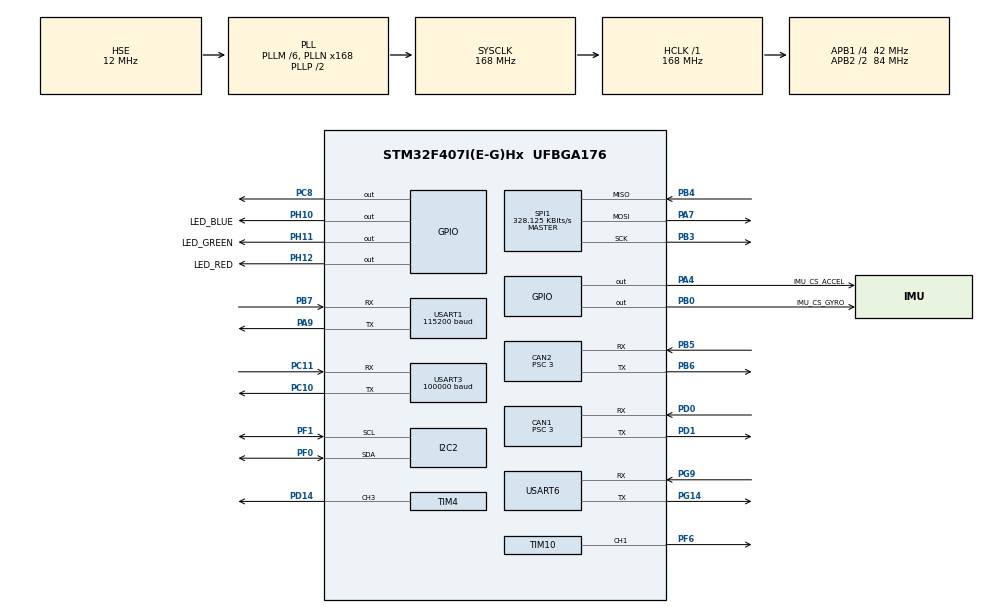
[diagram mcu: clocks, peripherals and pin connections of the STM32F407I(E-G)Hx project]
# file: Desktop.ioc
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CAN1.ABOM=ENABLE
CAN1.BS1=CAN_BS1_10TQ
CAN1.BS2=CAN_BS2_3TQ
CAN1.CalculateBaudRate=1000000
CAN1.CalculateTimeBit=1000
CAN1.CalculateTimeQuantum=71.42857142857143
CAN1.Prescaler=3
CAN2.ABOM=ENABLE
CAN2.BS1=CAN_BS1_10TQ
CAN2.BS2=CAN_BS2_3TQ
CAN2.CalculateBaudRate=1000000
CAN2.CalculateTimeBit=1000
CAN2.CalculateTimeQuantum=71.42857142857143
CAN2.Prescaler=3
Dma.Request0=USART1_RX
Dma.Request1=USART1_TX
Dma.Request2=USART3_RX
Dma.Request3=USART6_RX
Dma.Request4=USART6_TX
Dma.USART1_RX.0.Direction=DMA_PERIPH_TO_MEMORY
Dma.USART1_RX.0.FIFOMode=DMA_FIFOMODE_DISABLE
Dma.USART1_RX.0.Instance=DMA2_Stream2
Dma.USART1_RX.0.MemDataAlignment=DMA_MDATAALIGN_BYTE
Dma.USART1_RX.0.MemInc=DMA_MINC_ENABLE
Dma.USART1_RX.0.Mode=DMA_NORMAL
Dma.USART1_RX.0.PeriphDataAlignment=DMA_PDATAALIGN_BYTE
Dma.USART1_RX.0.PeriphInc=DMA_PINC_DISABLE
Dma.USART1_RX.0.Priority=DMA_PRIORITY_LOW
Dma.USART1_TX.1.Direction=DMA_MEMORY_TO_PERIPH
Dma.USART1_TX.1.FIFOMode=DMA_FIFOMODE_DISABLE
Dma.USART1_TX.1.Instance=DMA2_Stream7
Dma.USART1_TX.1.MemDataAlignment=DMA_MDATAALIGN_BYTE
Dma.USART1_TX.1.MemInc=DMA_MINC_ENABLE
Dma.USART1_TX.1.Mode=DMA_NORMAL
Dma.USART1_TX.1.PeriphDataAlignment=DMA_PDATAALIGN_BYTE
Dma.USART1_TX.1.PeriphInc=DMA_PINC_DISABLE
Dma.USART1_TX.1.Priority=DMA_PRIORITY_LOW
Dma.USART3_RX.2.Direction=DMA_PERIPH_TO_MEMORY
Dma.USART3_RX.2.FIFOMode=DMA_FIFOMODE_DISABLE
Dma.USART3_RX.2.Instance=DMA1_Stream1
Dma.USART3_RX.2.MemDataAlignment=DMA_MDATAALIGN_BYTE
Dma.USART3_RX.2.MemInc=DMA_MINC_ENABLE
Dma.USART3_RX.2.Mode=DMA_CIRCULAR
Dma.USART3_RX.2.PeriphDataAlignment=DMA_PDATAALIGN_BYTE
Dma.USART3_RX.2.PeriphInc=DMA_PINC_DISABLE
Dma.USART3_RX.2.Priority=DMA_PRIORITY_LOW
Dma.USART6_RX.3.Direction=DMA_PERIPH_TO_MEMORY
Dma.USART6_RX.3.FIFOMode=DMA_FIFOMODE_DISABLE
Dma.USART6_RX.3.Instance=DMA2_Stream1
Dma.USART6_RX.3.MemDataAlignment=DMA_MDATAALIGN_BYTE
Dma.USART6_RX.3.MemInc=DMA_MINC_ENABLE
Dma.USART6_RX.3.Mode=DMA_NORMAL
Dma.USART6_RX.3.PeriphDataAlignment=DMA_PDATAALIGN_BYTE
Dma.USART6_RX.3.PeriphInc=DMA_PINC_DISABLE
Dma.USART6_RX.3.Priority=DMA_PRIORITY_LOW
Dma.USART6_TX.4.Direction=DMA_MEMORY_TO_PERIPH
Dma.USART6_TX.4.FIFOMode=DMA_FIFOMODE_DISABLE
Dma.USART6_TX.4.Instance=DMA2_Stream6
Dma.USART6_TX.4.MemDataAlignment=DMA_MDATAALIGN_BYTE
Dma.USART6_TX.4.MemInc=DMA_MINC_ENABLE
Dma.USART6_TX.4.Mode=DMA_NORMAL
Dma.USART6_TX.4.PeriphDataAlignment=DMA_PDATAALIGN_BYTE
Dma.USART6_TX.4.PeriphInc=DMA_PINC_DISABLE
Dma.USART6_TX.4.Priority=DMA_PRIORITY_LOW
I2C2.I2C_Mode=I2C_Fast
Mcu.Family=STM32F4
Mcu.Name=STM32F407I(E-G)Hx
Mcu.Package=UFBGA176
NVIC.CAN1_RX0_IRQn=true\:0\:0\:false\:false\:true\:true\:true\:true
NVIC.CAN1_RX1_IRQn=true\:0\:0\:false\:false\:true\:true\:true\:true
NVIC.CAN2_RX0_IRQn=true\:0\:0\:false\:false\:true\:true\:true\:true
NVIC.CAN2_RX1_IRQn=true\:0\:0\:false\:false\:true\:true\:true\:true
NVIC.DMA1_Stream1_IRQn=true\:0\:0\:false\:false\:true\:false\:true\:true
NVIC.DMA2_Stream1_IRQn=true\:0\:0\:false\:false\:true\:false\:true\:true
NVIC.DMA2_Stream2_IRQn=true\:0\:0\:false\:false\:true\:false\:true\:true
NVIC.DMA2_Stream6_IRQn=true\:0\:0\:false\:false\:true\:false\:true\:true
NVIC.DMA2_Stream7_IRQn=true\:0\:0\:false\:false\:true\:false\:true\:true
NVIC.PriorityGroup=NVIC_PRIORITYGROUP_4
NVIC.TIM1_UP_TIM10_IRQn=true\:0\:0\:false\:false\:true\:true\:true\:true
NVIC.TIM4_IRQn=true\:2\:0\:true\:false\:true\:true\:true\:true
NVIC.USART1_IRQn=true\:0\:0\:false\:false\:true\:true\:true\:true
NVIC.USART3_IRQn=true\:0\:0\:false\:false\:true\:true\:true\:true
NVIC.USART6_IRQn=true\:0\:0\:false\:false\:true\:true\:true\:true
PA13.Mode=Serial_Wire
PA13.Signal=SYS_JTMS-SWDIO
PA14.Mode=Serial_Wire
PA14.Signal=SYS_JTCK-SWCLK
PA4.GPIO_Label=IMU_CS_ACCEL
PA4.GPIO_Speed=GPIO_SPEED_FREQ_VERY_HIGH
PA4.PinState=GPIO_PIN_SET
PA4.Signal=GPIO_Output
PA7.Mode=Full_Duplex_Master
PA7.Signal=SPI1_MOSI
PA9.Mode=Asynchronous
PA9.Signal=USART1_TX
PB0.GPIO_Label=IMU_CS_GYRO
PB0.GPIO_Speed=GPIO_SPEED_FREQ_VERY_HIGH
PB0.PinState=GPIO_PIN_SET
PB0.Signal=GPIO_Output
PB3.Mode=Full_Duplex_Master
PB3.Signal=SPI1_SCK
PB4.Mode=Full_Duplex_Master
PB4.Signal=SPI1_MISO
PB5.Mode=CAN_Activate
PB5.Signal=CAN2_RX
PB6.Mode=CAN_Activate
PB6.Signal=CAN2_TX
PB7.Mode=Asynchronous
PB7.Signal=USART1_RX
PC10.Mode=Asynchronous
PC10.Signal=USART3_TX
PC11.Mode=Asynchronous
PC11.Signal=USART3_RX
PC8.Signal=GPIO_Output
PD0.Mode=CAN_Activate
PD0.Signal=CAN1_RX
PD1.Mode=CAN_Activate
PD1.Signal=CAN1_TX
PD14.Signal=S_TIM4_CH3
PF0.Mode=I2C
PF0.Signal=I2C2_SDA
PF1.Mode=I2C
PF1.Signal=I2C2_SCL
PF6.Signal=S_TIM10_CH1
PG14.Mode=Asynchronous
PG14.Signal=USART6_TX
PG9.Mode=Asynchronous
PG9.Signal=USART6_RX
PH0-OSC_IN.Mode=HSE-External-Oscillator
PH0-OSC_IN.Signal=RCC_OSC_IN
PH1-OSC_OUT.Mode=HSE-External-Oscillator
PH1-OSC_OUT.Signal=RCC_OSC_OUT
PH10.GPIO_Label=LED_BLUE
PH10.GPIO_PuPd=GPIO_PULLUP
PH10.PinState=GPIO_PIN_SET
PH10.Signal=GPIO_Output
PH11.GPIO_Label=LED_GREEN
PH11.GPIO_PuPd=GPIO_PULLUP
PH11.PinState=GPIO_PIN_SET
PH11.Signal=GPIO_Output
PH12.GPIO_Label=LED_RED
PH12.GPIO_PuPd=GPIO_PULLUP
PH12.PinState=GPIO_PIN_SET
PH12.Signal=GPIO_Output
ProjectManager.HeapSize=0x200
ProjectManager.StackSize=0x400
ProjectManager.TargetToolchain=CMake
RCC.48MHZClocksFreq_Value=84000000
RCC.AHBFreq_Value=168000000
RCC.APB1CLKDivider=RCC_HCLK_DIV4
RCC.APB1Freq_Value=42000000
RCC.APB1TimFreq_Value=84000000
RCC.APB2CLKDivider=RCC_HCLK_DIV2
RCC.APB2Freq_Value=84000000
RCC.APB2TimFreq_Value=168000000
RCC.CortexFreq_Value=168000000
RCC.HCLKFreq_Value=168000000
RCC.HSE_VALUE=12000000
RCC.HSI_VALUE=16000000
RCC.LSE_VALUE=32768
RCC.PLLM=6
RCC.PLLN=168
RCC.PLLSourceVirtual=RCC_PLLSOURCE_HSE
RCC.SYSCLKFreq_VALUE=168000000
RCC.SYSCLKSource=RCC_SYSCLKSOURCE_PLLCLK
RCC.VCOOutputFreq_Value=336000000
SH.S_TIM10_CH1.0=TIM10_CH1,PWM Generation1 CH1
SH.S_TIM4_CH3.0=TIM4_CH3,PWM Generation3 CH3
SPI1.BaudRatePrescaler=SPI_BAUDRATEPRESCALER_256
SPI1.CLKPhase=SPI_PHASE_2EDGE
SPI1.CLKPolarity=SPI_POLARITY_HIGH
SPI1.CalculateBaudRate=328.125 KBits/s
SPI1.Direction=SPI_DIRECTION_2LINES
SPI1.Mode=SPI_MODE_MASTER
SPI1.VirtualType=VM_MASTER
STMicroelectronics.X-CUBE-ALGOBUILD.1.4.0.LibraryCcDSPOoLibraryJjDSPOoLibrary=true
TIM10.Channel=TIM_CHANNEL_1
TIM10.Period=16800-1
TIM10.Prescaler=0
TIM4.Channel-PWM\ Generation3\ CH3=TIM_CHANNEL_3
TIM4.Period=999
TIM4.Prescaler=83
USART1.BaudRate=115200
USART1.VirtualMode=VM_ASYNC
USART3.BaudRate=100000
USART3.Parity=PARITY_EVEN
USART3.VirtualMode=VM_ASYNC
USART3.WordLength=WORDLENGTH_9B
USART6.VirtualMode=VM_ASYNC
VP_STMicroelectronics.X-CUBE-ALGOBUILD_VS_DSPOoLibraryJjLibrary_1.4.0_1.4.0.Mode=DSPOoLibraryJjLibrary
VP_TIM10_VS_ClockSourceINT.Mode=Enable_Timer
VP_TIM4_VS_ClockSourceINT.Mode=Internal
board=custom

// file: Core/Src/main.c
/* USER CODE BEGIN Header */
/**
  ******************************************************************************
  * @file           : main.c
  * @brief          : Main program body
  ******************************************************************************
  * @attention
  *
  * Copyright (c) 2026 STMicroelectronics.
  * All rights reserved.
  *
  * This software is licensed under terms that can be found in the LICENSE file
  * in the root directory of this software component.
  * If no LICENSE file comes with this software, it is provided AS-IS.
  *
  ******************************************************************************
  */
/* USER CODE END Header */
#include "main.h"
#include "can.h"
#include "dma.h"
#include "i2c.h"
#include "spi.h"
#include "tim.h"
#include "usart.h"
#include "gpio.h"

/* USER CODE BEGIN Includes */
#include "bsp.h"
#include <stdio.h>
#include "../../User_Lib/user_music.h"

/* USER CODE END Includes */

void SystemClock_Config(void);

/* USER CODE BEGIN 0 */
static float Chassis_Heading_Get(void) {
    return Gimbal_Get_Yaw(&user_gimbal);
}

/* 航向源可信度：从没接过=可信（裸车调试，角度恒 0）；接过又掉线（角度冻结）或未对齐=不可信 */
static uint8_t Chassis_Source_Valid(void) {
    return Gimbal_Is_Reliable(&user_gimbal);
}
/* USER CODE END 0 */

/* ★★ 启动进度播报宏：用来定位"卡在哪一步"。
   每过一关就往【绘图口 USART6】和【视觉口 USART1】各发一行 ASCII。
   排查完可以整段删掉，不影响功能。 */
#define BOOT_TRACE(tag) do {                                        \
    static const char _bt[] = "\r\n[BOOT] " tag "\r\n";              \
    HAL_UART_Transmit(&huart6, (uint8_t*)_bt, sizeof(_bt) - 1, 200); \
    HAL_UART_Transmit(&huart1, (uint8_t*)_bt, sizeof(_bt) - 1, 200); \
} while (0)

int main(void)
{

  /* MCU Configuration--------------------------------------------------------*/

  /* Reset of all peripherals, Initializes the Flash interface and the Systick. */
    /* ★★ 硬件 FPU 必须在使用任何浮点指令之前打开，否则第一条 VFP 指令就是 NoCP 异常 -> 上电即跑飞。
       正常路径是 SystemInit() 里根据 __FPU_USED 自动开；这里再显式开一次做保险
       （与 CMakeLists 里的 -mfpu=fpv4-sp-d16 -mfloat-abi=hard 配套）。幂等，可重复执行。*/
#if (__FPU_PRESENT == 1U)
    SCB->CPACR |= ((3UL << (10U * 2U)) | (3UL << (11U * 2U)));
    __DSB();
    __ISB();
#endif
  HAL_Init();

  /* Configure the system clock */
  SystemClock_Config();

  /* Initialize all configured peripherals */
  MX_GPIO_Init();
  MX_DMA_Init();
  MX_CAN1_Init();
  MX_USART1_UART_Init();
  MX_USART3_UART_Init();
  MX_TIM4_Init();
  MX_I2C2_Init();
  MX_SPI1_Init();
    /* ★★ 性能关键：CubeMX 生成的 spi.c 里 BaudRatePrescaler = 256
       -> APB2 84MHz/256 = 328 kHz，读一次 IMU(19字节) 要 ≈463us，占满 1ms 预算的 46%！
       BMI088 的 SPI 支持到 10MHz，这里提到 84/16 = 5.25MHz -> 同一次读取降到 ≈29us。
       放在这里而不是改 spi.c，是为了不被下次 CubeMX 重新生成覆盖掉。
       （建议同时在 CubeMX 里把 SPI1 的 Prescaler 也改成 16，保持两边一致）*/
    hspi1.Init.BaudRatePrescaler = SPI_BAUDRATEPRESCALER_16;
    if (HAL_SPI_Init(&hspi1) != HAL_OK) {
        Error_Handler();
    }
  MX_CAN2_Init();
  MX_TIM10_Init();
  MX_USART6_UART_Init();
    BOOT_TRACE("M1 gpio/dma/uart inits OK");
  /* USER CODE BEGIN 2 */
  /* JScope 采样节拍：TIM10 跑 10kHz（C 板蜂鸣器占 TIM4_CH3，PWM_Set_Frequency 会改 TIM4 的 ARR，
     节拍不能挂 TIM4；PF6 加热通道由 Heater_Init 单独启动，TIM10 时基 + 加热 PWM 共存）*/
  JScope_Init(&htim10);
  TIMER_Init(&user_timer_10, &htim10, TIM10_CLK);
  TIMER_RegisterCallback(&user_timer_10, ChassisControl_JScopeCallback);

    /* ★★ HWT906（串口姿态传感器）本车【不使用】，已整段停用。
       原因一：没接、没用到。
       原因二（更关键）：它和【遥控接收机 DBUS】共用 USART3 ——
              两个驱动在同一 UART 上各自跑 DMA 收包会互相破坏，
               可能在中断里跑飞 -> 表现就是"所有串口都没有输出"。
       将来真要用 HWT906，必须给它单独分配一个空闲 UART，不能再与 DBUS 共用。
    // UART_Init(&user_imu_uart, &huart3);
  /* 状态灯：C 板是 RGB 三色灯，红 = PH12，绿 = PH11，低电平点亮 */
  LED_Init(&user_red_led, LED_RED_GPIO_Port, LED_RED_Pin, 1);
  LED_Init(&user_green_led, LED_GREEN_GPIO_Port, LED_GREEN_Pin, 1);
  LED_On(&user_green_led);

  Buzzer_Init(&user_buzzer_1, &htim4, TIM_CHANNEL_3, TIM4_CLK);
  StartupMusic_Init(&user_startup_music, &user_buzzer_1, &user_startup_music_task,
                    dji_starting_music, sizeof(dji_starting_music) / sizeof(dji_starting_music[0]));
  StartupMusic_Start(&user_startup_music);

  CAN_Init(&user_can_1, &hcan1);
  CAN_Init(&user_can_2, &hcan2);

  /* 底盘电机：4 个 M3508 共用 0x200 帧，ID 按实际接线：左前=2 右前=3 左后=1 右后=4 */
  PID_Init(&user_wheel_pid_fl, CHASSIS_SPEED_KP, CHASSIS_SPEED_KI, CHASSIS_SPEED_KD,
           CHASSIS_SPEED_MAX_OUT, CHASSIS_SPEED_MAX_IOUT);
  PID_Init(&user_wheel_pid_fr, CHASSIS_SPEED_KP, CHASSIS_SPEED_KI, CHASSIS_SPEED_KD,
           CHASSIS_SPEED_MAX_OUT, CHASSIS_SPEED_MAX_IOUT);
  PID_Init(&user_wheel_pid_rl, CHASSIS_SPEED_KP, CHASSIS_SPEED_KI, CHASSIS_SPEED_KD,
           CHASSIS_SPEED_MAX_OUT, CHASSIS_SPEED_MAX_IOUT);
  PID_Init(&user_wheel_pid_rr, CHASSIS_SPEED_KP, CHASSIS_SPEED_KI, CHASSIS_SPEED_KD,
           CHASSIS_SPEED_MAX_OUT, CHASSIS_SPEED_MAX_IOUT);

  DJI_Motor_Init(&user_wheel_fl, &user_can_1, 2, 0.0f, M3508_gear, Rotor_speed,
                 (CONTROLLER_INTERFACE*)&user_wheel_pid_fl);
  DJI_Motor_Init(&user_wheel_fr, &user_can_1, 3, 0.0f, M3508_gear, Rotor_speed,
                 (CONTROLLER_INTERFACE*)&user_wheel_pid_fr);
  DJI_Motor_Init(&user_wheel_rl, &user_can_1, 1, 0.0f, M3508_gear, Rotor_speed,
                 (CONTROLLER_INTERFACE*)&user_wheel_pid_rl);
  DJI_Motor_Init(&user_wheel_rr, &user_can_1, 4, 0.0f, M3508_gear, Rotor_speed,
                 (CONTROLLER_INTERFACE*)&user_wheel_pid_rr);

  Chassis_Init(&user_chassis,
               (MOTOR_INTERFACE*)&user_wheel_fl, (MOTOR_INTERFACE*)&user_wheel_fr,
               (MOTOR_INTERFACE*)&user_wheel_rl, (MOTOR_INTERFACE*)&user_wheel_rr);

  /* 遥控器（C 板 DBUS 走 USART3：PC10/PC11，100000 + 8E1）与姿态传感器 */
  DBUS_Init(&user_dbus, &huart3);
    // HWT906_Init(&user_imu, &user_imu_uart);   /* 同上：未使用，且会与 DBUS 抢 USART3 */
  /* 板载 IMU：SPI1 + 姿态解算（BMI088 双片选：加速度 PA4 / 陀螺 PB0） */
  SPI_Init(&user_spi_accel, &hspi1, IMU_CS_ACCEL_GPIO_Port, IMU_CS_ACCEL_Pin);
  SPI_Init(&user_spi_gyro, &hspi1, IMU_CS_GYRO_GPIO_Port, IMU_CS_GYRO_Pin);
  BMI088_Init(&user_bmi088, &user_spi_accel, &user_spi_gyro, 2);   /* ★ 2ms=500Hz：把 IMU读取+EKF 的中断负载减半，先把系统从"几秒后锁死"里救出来 */
  Attitude_Init(&user_attitude, &user_bmi088, 0.002f);              /* ★ 必须与上面的 2ms 一致，否则 EKF 的 dt 错 */
    BOOT_TRACE("M2 IMU + attitude OK");

  /* IMU 恒温加热：PF6 = TIM10_CH1（10kHz PWM），100ms 任务，温度用 BMI088 已读好的值。
     ★ 必须在 MX_TIM10_Init() 之后调用；上电先满功率预热到 47℃，再用 PID 恒温 50℃。*/
  Heater_Init(&user_heater);

  UART_Init(&user_serialplot_uart, &huart6);

  /* ---- 串口自检探针 ----------------------------
     阻塞发送，绕过 TX 队列和 DMA，用来定位故障：
     文本模式看到 SERIALPLOT OK -> 引脚/接线/波特率 OK，问题在 TX 队列或 DMA；
     看不到则是接线问题（TX/RX 反了？GND 没接？）。
      ⚠ ASCII 用文本模式看，正常绘图帧是二进制要用 HEX 模式；USART1 与上位机波特率都是 115200 */
  {
    static const char selftest[] = "SERIALPLOT OK\r\n";
    HAL_UART_Transmit(&huart1, (uint8_t*)selftest, sizeof(selftest) - 1, 100);
  }
  uint8_t tunable_num = 0;
  Serialplot_Init(&user_serialplot, &user_serialplot_uart,
                  ChassisControl_Get_Tunable(&tunable_num), tunable_num,
                  CHASSIS_SERIALPLOT_PERIOD_MS);

    /* 视觉链路（与算法组的自瞄对接）：UART1 */
    UART_Init(&user_vision_uart, &huart1);
    Vision_Init(&user_vision, &user_vision_uart);

    /* ★★ 开机把标识发到三个串口。
       之后用【普通串口助手】逐个物理口连一遍，看到哪行字就知道那个口是哪个 USART，
       再也不用猜接线（本次反复出错就是因为猜接线）。
       确认完这段可以整段删掉，不影响功能。 */
    {
        static const char id_uart1[] = "\r\n=== this port is USART1 ===\r\n";
        static const char id_uart3[] = "\r\n=== this port is USART3 ===\r\n";
        static const char id_uart6[] = "\r\n=== this port is USART6 ===\r\n";
        HAL_UART_Transmit(&huart1, (uint8_t*)id_uart1, sizeof(id_uart1) - 1, 100);
        HAL_UART_Transmit(&huart3, (uint8_t*)id_uart3, sizeof(id_uart3) - 1, 100);
        HAL_UART_Transmit(&huart6, (uint8_t*)id_uart6, sizeof(id_uart6) - 1, 100);
    }
  /* 绘图通道在 Chassis_Apply_Plot_Mode() 里登记：固定单模式 6 通道，没有模式切换 */

  /* 云台 yaw：GM6020，绝对编码器提供云台相对底盘的角度 */
  PID_Init(&user_gimbal_yaw_pid, GIMBAL_YAW_KP, GIMBAL_YAW_KI, GIMBAL_YAW_KD,
           GIMBAL_YAW_MAX_OUT, GIMBAL_YAW_MAX_IOUT);
  /* ★ Rotor_speed：云台 yaw 用转速模式，锁世界的外环在 gimbal.c 里 */
  DJI_Motor_Init(&user_gimbal_yaw_motor, &user_can_1, GIMBAL_YAW_MOTOR_ID, 0.0f,
                 GM6020, Rotor_speed, (CONTROLLER_INTERFACE*)&user_gimbal_yaw_pid);
  DJI_Motor_Set_Power_Limit(&user_gimbal_yaw_motor, GIMBAL_YAW_POWER_LIMIT);
  Gimbal_Init(&user_gimbal, &user_gimbal_yaw_motor);

  /* ---- 云台 pitch：GM6020 (ID 4)，★ 挂 CAN2 不挂 CAN1 ----
     CAN1 已有 4 轮 + yaw ≈ 6000 帧/s（78% 负载），再加 pitch 会到 ~91%，超出 CAN
     可靠区间；挂 CAN2 后 CAN1 保持 78%，CAN2（3 个射击电机 + pitch）约 65%。
     ★ 必须先 Gimbal_Pitch_Init（两个 PID 与串级）再 DJI_Motor_Init（注入
       pitch_cascade），否则 CAN 回调可能在内环指针还是 NULL 时调用 Calculate */
#if GIMBAL_PITCH_ENABLE
  Gimbal_Pitch_Init(&user_gimbal, &user_gimbal_pitch_motor);
#if GIMBAL_PITCH_CASCADE
  DJI_Motor_Init(&user_gimbal_pitch_motor, &user_can_2, GIMBAL_PITCH_MOTOR_ID, 0.0f,
                 GM6020, Rotor_angle, (CONTROLLER_INTERFACE*)&user_gimbal.pitch_cascade);
#else
  DJI_Motor_Init(&user_gimbal_pitch_motor, &user_can_2, GIMBAL_PITCH_MOTOR_ID, 0.0f,
                 GM6020, Rotor_speed, (CONTROLLER_INTERFACE*)&user_gimbal.pitch_pid_speed);
#endif
  DJI_Motor_Set_Power_Limit(&user_gimbal_pitch_motor, GIMBAL_PITCH_POWER_LIMIT);
#endif /* GIMBAL_PITCH_ENABLE */

  /* ---- 射击机构：两摩擦轮(M3508) + 一拨弹轮(M2006)，都挂 CAN2 ----
     反馈 ID 0x201/0x202/0x203 共用 0x200 帧（各占 2 字节：ID1->0,1 ID2->2,3 ID3->4,5）；同样先 Shooter_Init 再挂电机 */
#if SHOOTER_ENABLE
  Shooter_Init(&user_shooter, &user_friction_left, &user_friction_right, &user_feeder);

  DJI_Motor_Init(&user_friction_left, &user_can_2, SHOOTER_FRICTION_LEFT_ID, 0.0f,
                 M3508_gear, Rotor_speed, (CONTROLLER_INTERFACE*)&user_shooter.friction_left_pid);
  DJI_Motor_Init(&user_friction_right, &user_can_2, SHOOTER_FRICTION_RIGHT_ID, 0.0f,
                 M3508_gear, Rotor_speed, (CONTROLLER_INTERFACE*)&user_shooter.friction_right_pid);
  DJI_Motor_Init(&user_feeder, &user_can_2, SHOOTER_FEEDER_ID, 0.0f,
                 M2006, Rotor_angle, (CONTROLLER_INTERFACE*)&user_shooter.feeder_cascade);

  DJI_Motor_Set_Power_Limit(&user_friction_left, SHOOTER_FRICTION_POWER_MAX);
  DJI_Motor_Set_Power_Limit(&user_friction_right, SHOOTER_FRICTION_POWER_MAX);
  DJI_Motor_Set_Power_Limit(&user_feeder, SHOOTER_FEEDER_POWER_MAX);
#endif /* SHOOTER_ENABLE */

  ChassisControl_Init(&user_chassis, &user_dbus);
    BOOT_TRACE("M4 chassis_control OK - plot should start");
    /* ★ 启动进度标记：走到这里说明绘图通道已登记，串口上应该开始出数据了。
       若三个口都收不到这行字，说明卡在更早的初始化（那就是初始化问题，不是绘图问题）。 */
    {
        static const char boot_ok[] = "\r\n[BOOT] chassis_control OK - plot should start\r\n";
        HAL_UART_Transmit(&huart1, (uint8_t*)boot_ok, sizeof(boot_ok) - 1, 200);
        HAL_UART_Transmit(&huart3, (uint8_t*)boot_ok, sizeof(boot_ok) - 1, 200);
        HAL_UART_Transmit(&huart6, (uint8_t*)boot_ok, sizeof(boot_ok) - 1, 200);
    }
  ChassisControl_Set_HeadingSource(Chassis_Heading_Get);
  ChassisControl_Set_SourceValid(Chassis_Source_Valid);
  SysTick_InitTask(&chassis_task, NULL, CHASSIS_PERIOD_MS, CHASSIS_PERIOD_MS,
                   Task_REPEAT, ChassisControl_Task);
  SysTick_StartTask(&chassis_task);

  SysTick_InitTask(&LED_Blink_Task, &user_red_led, 10, 800, Task_REPEAT, LED_Blink_Callback);
  SysTick_StartTask(&LED_Blink_Task);

  /* USER CODE END 2 */

  /* Infinite loop */
  while (1)
  {

    /* USER CODE BEGIN 3 */
    LOOP_EVENT_Handle();
  }
  /* USER CODE END 3 */
}

void SystemClock_Config(void)
{
  RCC_OscInitTypeDef RCC_OscInitStruct = {0};
  RCC_ClkInitTypeDef RCC_ClkInitStruct = {0};

  /** Configure the main internal regulator output voltage
  */
  __HAL_RCC_PWR_CLK_ENABLE();
  __HAL_PWR_VOLTAGESCALING_CONFIG(PWR_REGULATOR_VOLTAGE_SCALE1);

  /** Initializes the RCC Oscillators according to the specified parameters
  * in the RCC_OscInitTypeDef structure.
  */
  RCC_OscInitStruct.OscillatorType = RCC_OSCILLATORTYPE_HSE;
  RCC_OscInitStruct.HSEState = RCC_HSE_ON;
  RCC_OscInitStruct.PLL.PLLState = RCC_PLL_ON;
  RCC_OscInitStruct.PLL.PLLSource = RCC_PLLSOURCE_HSE;
  RCC_OscInitStruct.PLL.PLLM = 6;
  RCC_OscInitStruct.PLL.PLLN = 168;
  RCC_OscInitStruct.PLL.PLLP = RCC_PLLP_DIV2;
  RCC_OscInitStruct.PLL.PLLQ = 4;
  if (HAL_RCC_OscConfig(&RCC_OscInitStruct) != HAL_OK)
  {
    Error_Handler();
  }

  /** Initializes the CPU, AHB and APB buses clocks
  */
  RCC_ClkInitStruct.ClockType = RCC_CLOCKTYPE_HCLK|RCC_CLOCKTYPE_SYSCLK
                              |RCC_CLOCKTYPE_PCLK1|RCC_CLOCKTYPE_PCLK2;
  RCC_ClkInitStruct.SYSCLKSource = RCC_SYSCLKSOURCE_PLLCLK;
  RCC_ClkInitStruct.AHBCLKDivider = RCC_SYSCLK_DIV1;
  RCC_ClkInitStruct.APB1CLKDivider = RCC_HCLK_DIV4;
  RCC_ClkInitStruct.APB2CLKDivider = RCC_HCLK_DIV2;

  if (HAL_RCC_ClockConfig(&RCC_ClkInitStruct, FLASH_LATENCY_5) != HAL_OK)
  {
    Error_Handler();
  }
}

void Error_Handler(void)
{
  __disable_irq();
  while (1)
  {
  }
}
